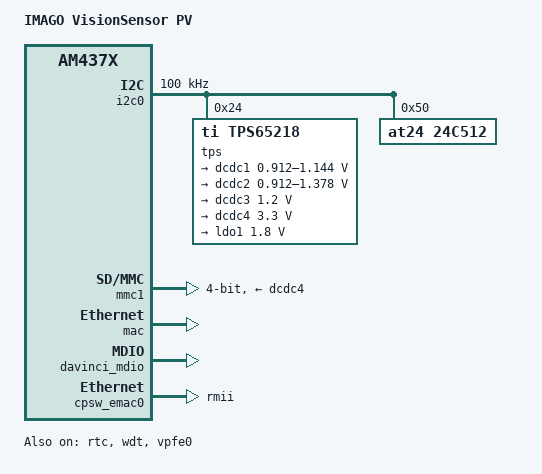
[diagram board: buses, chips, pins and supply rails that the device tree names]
/*
 * Copyright (C) 2018 Imago Technologies GmbH - http://www.imago-technologies.com/
 *
 * This program is free software; you can redistribute it and/or modify
 * it under the terms of the GNU General Public License version 2 as
 * published by the Free Software Foundation.
 */

/* AM437x - IMAGO VisionSensor PV */

/dts-v1/;

#include "am4372.dtsi"
#include <dt-bindings/pinctrl/am43xx.h>
#include <dt-bindings/pwm/pwm.h>
#include <dt-bindings/gpio/gpio.h>
#include <dt-bindings/input/input.h>

/ {
	model = "IMAGO VisionSensor PV";
	compatible = "ti,am437x-visionsensor-pv";

	chosen {
		stdout-path = &uart0;
		tick-timer = &timer2;
	};

	ocp {
		u-boot,dm-spl;
	};
};

&uart0 {
	u-boot,dm-spl;
};

&am43xx_pinmux {
	i2c0_pins: i2c0_pins {
		pinctrl-single,pins = <
			0x188 (PIN_INPUT | SLEWCTRL_FAST | MUX_MODE0)  /* i2c0_sda.i2c0_sda */
			0x18c (PIN_INPUT | SLEWCTRL_FAST | MUX_MODE0)  /* i2c0_scl.i2c0_scl */
		>;
	};

	mmc1_pins: pinmux_mmc1_pins {
		pinctrl-single,pins = <
			0x0f0 (PIN_INPUT | MUX_MODE0) /* mmc0_dat3.mmc0_dat3 */
			0x0f4 (PIN_INPUT | MUX_MODE0) /* mmc0_dat2.mmc0_dat2 */
			0x0f8 (PIN_INPUT | MUX_MODE0) /* mmc0_dat1.mmc0_dat1 */
			0x0fc (PIN_INPUT | MUX_MODE0) /* mmc0_dat0.mmc0_dat0 */
			0x100 (PIN_INPUT | MUX_MODE0) /* mmc0_clk.mmc0_clk */
			0x104 (PIN_INPUT | MUX_MODE0) /* mmc0_cmd.mmc0_cmd */
		>;
	};

	vpfe0_pins_default: vpfe0_pins_default {
		pinctrl-single,pins = <
			0x1b0 (PIN_INPUT_PULLUP | MUX_MODE0)  /* cam0_hd mode 0*/
			0x1b4 (PIN_INPUT_PULLUP | MUX_MODE0)  /* cam0_vd mode 0*/
			0x1c0 (PIN_INPUT_PULLUP | MUX_MODE0)  /* cam0_pclk mode 0*/
			0x1c4 (PIN_INPUT_PULLUP | MUX_MODE0)  /* cam0_data8 mode 0*/
			0x1c8 (PIN_INPUT_PULLUP | MUX_MODE0)  /* cam0_data9 mode 0*/
			0x208 (PIN_INPUT_PULLUP | MUX_MODE0)  /* cam0_data0 mode 0*/
			0x20c (PIN_INPUT_PULLUP | MUX_MODE0)  /* cam0_data1 mode 0*/
			0x210 (PIN_INPUT_PULLUP | MUX_MODE0)  /* cam0_data2 mode 0*/
			0x214 (PIN_INPUT_PULLUP | MUX_MODE0)  /* cam0_data3 mode 0*/
			0x218 (PIN_INPUT_PULLUP | MUX_MODE0)  /* cam0_data4 mode 0*/
			0x21c (PIN_INPUT_PULLUP | MUX_MODE0)  /* cam0_data5 mode 0*/
			0x220 (PIN_INPUT_PULLUP | MUX_MODE0)  /* cam0_data6 mode 0*/
			0x224 (PIN_INPUT_PULLUP | MUX_MODE0)  /* cam0_data7 mode 0*/
			0x270 (PIN_OUTPUT | MUX_MODE3)  /* xdma_event_intr0.clkout1 => SENSOR.CLK_IN */
		>;
	};

	vpfe0_pins_sleep: vpfe0_pins_sleep {
		pinctrl-single,pins = <
			0x1b0 (DS0_PULL_UP_DOWN_EN | INPUT_EN | MUX_MODE7)
			0x1b4 (DS0_PULL_UP_DOWN_EN | INPUT_EN | MUX_MODE7)
			0x1c0 (DS0_PULL_UP_DOWN_EN | INPUT_EN | MUX_MODE7)
			0x1c4 (DS0_PULL_UP_DOWN_EN | INPUT_EN | MUX_MODE7)
			0x1c8 (DS0_PULL_UP_DOWN_EN | INPUT_EN | MUX_MODE7)
			0x208 (DS0_PULL_UP_DOWN_EN | INPUT_EN | MUX_MODE7)
			0x20c (DS0_PULL_UP_DOWN_EN | INPUT_EN | MUX_MODE7)
			0x210 (DS0_PULL_UP_DOWN_EN | INPUT_EN | MUX_MODE7)
			0x214 (DS0_PULL_UP_DOWN_EN | INPUT_EN | MUX_MODE7)
			0x218 (DS0_PULL_UP_DOWN_EN | INPUT_EN | MUX_MODE7)
			0x21c (DS0_PULL_UP_DOWN_EN | INPUT_EN | MUX_MODE7)
			0x220 (DS0_PULL_UP_DOWN_EN | INPUT_EN | MUX_MODE7)
			0x224 (DS0_PULL_UP_DOWN_EN | INPUT_EN | MUX_MODE7)
		>;
	};

	cpsw_default: cpsw_default {
		pinctrl-single,pins = <
			0x144 (PIN_INPUT | MUX_MODE0)	/* rmii1_ref_clk.rmii_refclk (50 MHz input clock)*/
			0x10c (PIN_INPUT | MUX_MODE1)	/* mii1_crs.rmii_crs_dv */
			0x110 (PIN_INPUT | MUX_MODE1)	/* mii1_rx_er.rmii1_rxer */
			0x128 (PIN_OUTPUT | MUX_MODE1)	/* mii1_txd0.rmii1_txd0 */
			0x124 (PIN_OUTPUT | MUX_MODE1)	/* mii1_txd1.rmii1_txd1 */
			0x140 (PIN_INPUT | MUX_MODE1)	/* mii1_rxd0.rmii1_rxd0 */
			0x13c (PIN_INPUT | MUX_MODE1)	/* mii1_rxd1.rmii1_rxd1 */
			0x114 (PIN_OUTPUT | MUX_MODE1)	/* mii1_txen.rmii1_txen */
		>;
	};

	cpsw_sleep: cpsw_sleep {
		pinctrl-single,pins = <
			0x144 (PIN_INPUT | MUX_MODE7)	/* rmii1_ref_clk.rmii_refclk (50 MHz input clock)*/
			0x10c (PIN_INPUT | MUX_MODE7)
			0x110 (PIN_INPUT | MUX_MODE7)
			0x128 (PIN_OUTPUT | MUX_MODE7)
			0x124 (PIN_OUTPUT | MUX_MODE7)
			0x140 (PIN_INPUT | MUX_MODE7)
			0x13c (PIN_INPUT | MUX_MODE7)
			0x114 (PIN_OUTPUT | MUX_MODE7)
		>;
	};

	davinci_mdio_default: davinci_mdio_default {
		pinctrl-single,pins = <
			/* MDIO */
			0x148 (PIN_INPUT | SLEWCTRL_FAST | MUX_MODE0)	/* mdio_data.mdio_data */
			0x14c (PIN_OUTPUT | MUX_MODE0)			/* mdio_clk.mdio_clk */
		>;
	};

	davinci_mdio_sleep: davinci_mdio_sleep {
		pinctrl-single,pins = <
			/* MDIO reset value */
			0x148 (PIN_INPUT_PULLDOWN | MUX_MODE7)
			0x14c (PIN_INPUT_PULLDOWN | MUX_MODE7)
		>;
	};
};

&i2c0 {
	status = "okay";
	pinctrl-names = "default";
	pinctrl-0 = <&i2c0_pins>;
	clock-frequency = <100000>;

	tps@24 {
		compatible = "ti,tps65218";
		reg = <0x24>;
		interrupts = <GIC_SPI 7 IRQ_TYPE_LEVEL_HIGH>;
		interrupt-controller;
		#interrupt-cells = <2>;

		dcdc1: regulator-dcdc1 {
			compatible = "ti,tps65218-dcdc1";
			/* VDD_CORE limits min of OPP50 and max of OPP100 */
			regulator-name = "vdd_core";
			regulator-min-microvolt = <912000>;
			regulator-max-microvolt = <1144000>;
			regulator-boot-on;
			regulator-always-on;
		};

		dcdc2: regulator-dcdc2 {
			compatible = "ti,tps65218-dcdc2";
			/* VDD_MPU limits min of OPP50 and max of OPP_NITRO */
			regulator-name = "vdd_mpu";
			regulator-min-microvolt = <912000>;
			regulator-max-microvolt = <1378000>;
			regulator-boot-on;
			regulator-always-on;
		};

		dcdc3: regulator-dcdc3 {
			compatible = "ti,tps65218-dcdc3";
			regulator-name = "vdds_ddr";
			regulator-min-microvolt = <1200000>;
			regulator-max-microvolt = <1200000>;
			regulator-boot-on;
			regulator-always-on;
		};

		dcdc4: regulator-dcdc4 {
			compatible = "ti,tps65218-dcdc4";
			regulator-name = "v3_3d";
			regulator-min-microvolt = <3300000>;
			regulator-max-microvolt = <3300000>;
			regulator-boot-on;
			regulator-always-on;
		};

		ldo1: regulator-ldo1 {
			compatible = "ti,tps65218-ldo1";
			regulator-name = "v1_8d";
			regulator-min-microvolt = <1800000>;
			regulator-max-microvolt = <1800000>;
			regulator-boot-on;
			regulator-always-on;
		};

		power-button {
			compatible = "ti,tps65218-pwrbutton";
			status = "okay";
			interrupts = <3 IRQ_TYPE_EDGE_BOTH>;
		};
	};

	at24@50 {
		compatible = "at24,24c512";
		pagesize = <64>;
		reg = <0x50>;
	};
};

&gpio2 {
	status = "okay";
};

&gpio4 {
	status = "okay";
};

&mmc1 {
	status = "okay";
	pinctrl-names = "default";
	pinctrl-0 = <&mmc1_pins>;
	vmmc-supply = <&dcdc4>;
	bus-width = <4>;
	u-boot,dm-spl;
};


&mac {
	pinctrl-names = "default", "sleep";
	pinctrl-0 = <&cpsw_default>;
	pinctrl-1 = <&cpsw_sleep>;
	dual_emac = <1>;
	status = "okay";
};

&davinci_mdio {
	pinctrl-names = "default", "sleep";
	pinctrl-0 = <&davinci_mdio_default>;
	pinctrl-1 = <&davinci_mdio_sleep>;
	status = "okay";
};

&cpsw_emac0 {
	phy_id = <&davinci_mdio>, <2>;
	phy-mode = "rmii";
};


&rtc {
	status = "okay";
};

&wdt {
	status = "okay";
};

&cpu {
	cpu0-supply = <&dcdc2>;
};

&vpfe0 {
	status = "okay";
	pinctrl-names = "default", "sleep";
	pinctrl-0 = <&vpfe0_pins_default>;
	pinctrl-1 = <&vpfe0_pins_sleep>;

	/* Camera port */
	port {
		vpfe0_ep: endpoint {
			/* remote-endpoint = <&sensor>; add once we have it */
			ti,am437x-vpfe-interface = <0>;
			bus-width = <8>;
			hsync-active = <1>;
			vsync-active = <1>;
		};
	};
};
